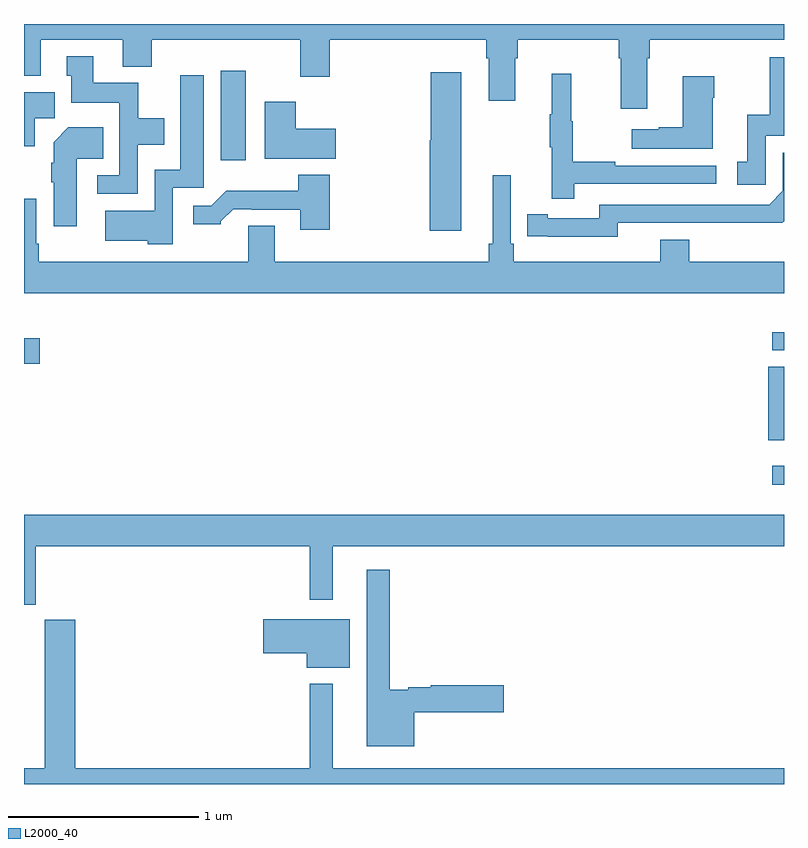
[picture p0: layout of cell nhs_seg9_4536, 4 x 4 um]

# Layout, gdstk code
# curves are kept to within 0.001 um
import gdstk
lib = gdstk.Library(unit=1e-6, precision=1e-09)
def R(c, l, rs):  # rectangles x0, y0, x1, y1
    for r in rs: c.add(gdstk.rectangle(r[:2], r[2:], *l))
def P(c, l, *ps):  # polygons
    for p in ps: c.add(gdstk.Polygon(p, *l))
L2000_40 = (2000, 40)

nhs_seg9_4536 = lib.new_cell('nhs_seg9_4536')
R(nhs_seg9_4536, L2000_40, [(374.937,1198.076,375,1198.174), (374.918,1198.31,375,1198.697), (371,1198.712,371.083,1198.846), (374.937,1198.782,375,1198.878), (372.035,1199.784,372.166,1200.253)])
P(nhs_seg9_4536, L2000_40, [(374.281,1200.32),(374.294,1200.32),(374.294,1200.416),(375,1200.416),(375,1200.5),(371,1200.5),(371,1200.227),(371.089,1200.227),(371.089,1200.416),(371.519,1200.416),(371.519,1200.275),(371.672,1200.275),(371.672,1200.416),(372.455,1200.416),(372.455,1200.222),(372.608,1200.222),(372.608,1200.416),(373.433,1200.416),(373.433,1200.32),(373.445,1200.32),(373.445,1200.096),(373.585,1200.096),(373.585,1200.32),(373.598,1200.32),(373.598,1200.416),(374.129,1200.416),(374.129,1200.32),(374.141,1200.32),(374.141,1200.054),(374.281,1200.054)],
  [(371.598,1199.864),(371.737,1199.864),(371.737,1200.004),(371.601,1200.004),(371.601,1200.19),(371.365,1200.19),(371.365,1200.331),(371.225,1200.331),(371.225,1200.228),(371.249,1200.228),(371.249,1200.086),(371.502,1200.086),(371.502,1199.703),(371.385,1199.703),(371.385,1199.607),(371.598,1199.607)],
  [(374.904,1199.913),(375,1199.913),(375,1200.324),(374.925,1200.324),(374.925,1200.022),(374.807,1200.022),(374.807,1199.775),(374.754,1199.775),(374.754,1199.655),(374.904,1199.655)],
  [(373.3,1200.247),(373.142,1200.247),(373.142,1199.889),(373.136,1199.889),(373.136,1199.412),(373.3,1199.412)],
  [(373.895,1199.658),(374.644,1199.658),(374.644,1199.754),(374.111,1199.754),(374.111,1199.774),(373.888,1199.774),(373.888,1199.988),(373.88,1199.988),(373.88,1200.238),(373.778,1200.238),(373.778,1200.025),(373.767,1200.025),(373.767,1199.851),(373.778,1199.851),(373.778,1199.58),(373.895,1199.58)],
  [(371.784,1199.637),(371.947,1199.637),(371.947,1200.229),(371.822,1200.229),(371.822,1199.734),(371.688,1199.734),(371.688,1199.518),(371.427,1199.518),(371.427,1199.36),(371.652,1199.36),(371.652,1199.342),(371.784,1199.342)],
  [(374.626,1200.113),(374.634,1200.113),(374.634,1200.226),(374.468,1200.226),(374.468,1199.957),(374.342,1199.957),(374.342,1199.947),(374.199,1199.947),(374.199,1199.843),(374.626,1199.843)],
  [(371.056,1200.004),(371.161,1200.004),(371.161,1200.142),(371,1200.142),(371,1199.856),(371.056,1199.856)],
  [(372.64,1199.95),(372.43,1199.95),(372.43,1200.091),(372.266,1200.091),(372.266,1199.792),(372.64,1199.792)],
  [(371.278,1199.792),(371.417,1199.792),(371.417,1199.956),(371.234,1199.956),(371.156,1199.878),(371.156,1199.771),(371.144,1199.771),(371.144,1199.668),(371.156,1199.668),(371.156,1199.436),(371.278,1199.436)],
  [(374.124,1199.454),(374.992,1199.453),(375,1199.461),(375,1199.823),(374.994,1199.823),(374.994,1199.622),(374.922,1199.55),(374.028,1199.55),(374.028,1199.478),(373.756,1199.478),(373.756,1199.498),(373.648,1199.498),(373.648,1199.382),(374.124,1199.381)],
  [(372.608,1199.707),(372.443,1199.707),(372.443,1199.623),(372.064,1199.623),(371.985,1199.544),(371.892,1199.544),(371.892,1199.447),(372.036,1199.447),(372.036,1199.462),(372.1,1199.526),(372.199,1199.526),(372.199,1199.523),(372.455,1199.523),(372.455,1199.418),(372.608,1199.418)],
  [(375,1199.248),(374.501,1199.248),(374.501,1199.365),(374.348,1199.365),(374.348,1199.248),(373.577,1199.248),(373.577,1199.344),(373.563,1199.344),(373.563,1199.704),(373.466,1199.704),(373.466,1199.344),(373.447,1199.344),(373.447,1199.248),(372.319,1199.248),(372.319,1199.438),(372.179,1199.438),(372.179,1199.248),(371.077,1199.248),(371.077,1199.344),(371.064,1199.344),(371.064,1199.581),(371,1199.581),(371,1199.084),(375,1199.084)],
  [(371.062,1197.752),(372.504,1197.752),(372.504,1197.471),(372.625,1197.471),(372.625,1197.752),(375,1197.752),(375,1197.916),(371,1197.916),(371,1197.443),(371.062,1197.443)],
  [(373.054,1196.878),(373.525,1196.878),(373.525,1197.02),(373.14,1197.02),(373.14,1197.008),(373.022,1197.008),(373.022,1196.995),(372.925,1196.995),(372.925,1197.628),(372.803,1197.628),(372.803,1196.699),(373.054,1196.699)],
  [(372.715,1197.367),(372.258,1197.367),(372.258,1197.188),(372.488,1197.188),(372.488,1197.113),(372.715,1197.113)],
  [(375,1196.584),(372.625,1196.584),(372.625,1197.028),(372.504,1197.028),(372.504,1196.584),(371.27,1196.584),(371.27,1197.364),(371.11,1197.364),(371.11,1196.584),(371,1196.584),(371,1196.5),(375,1196.5)])

lib.write_gds('nhs_seg9_4536.gds')
